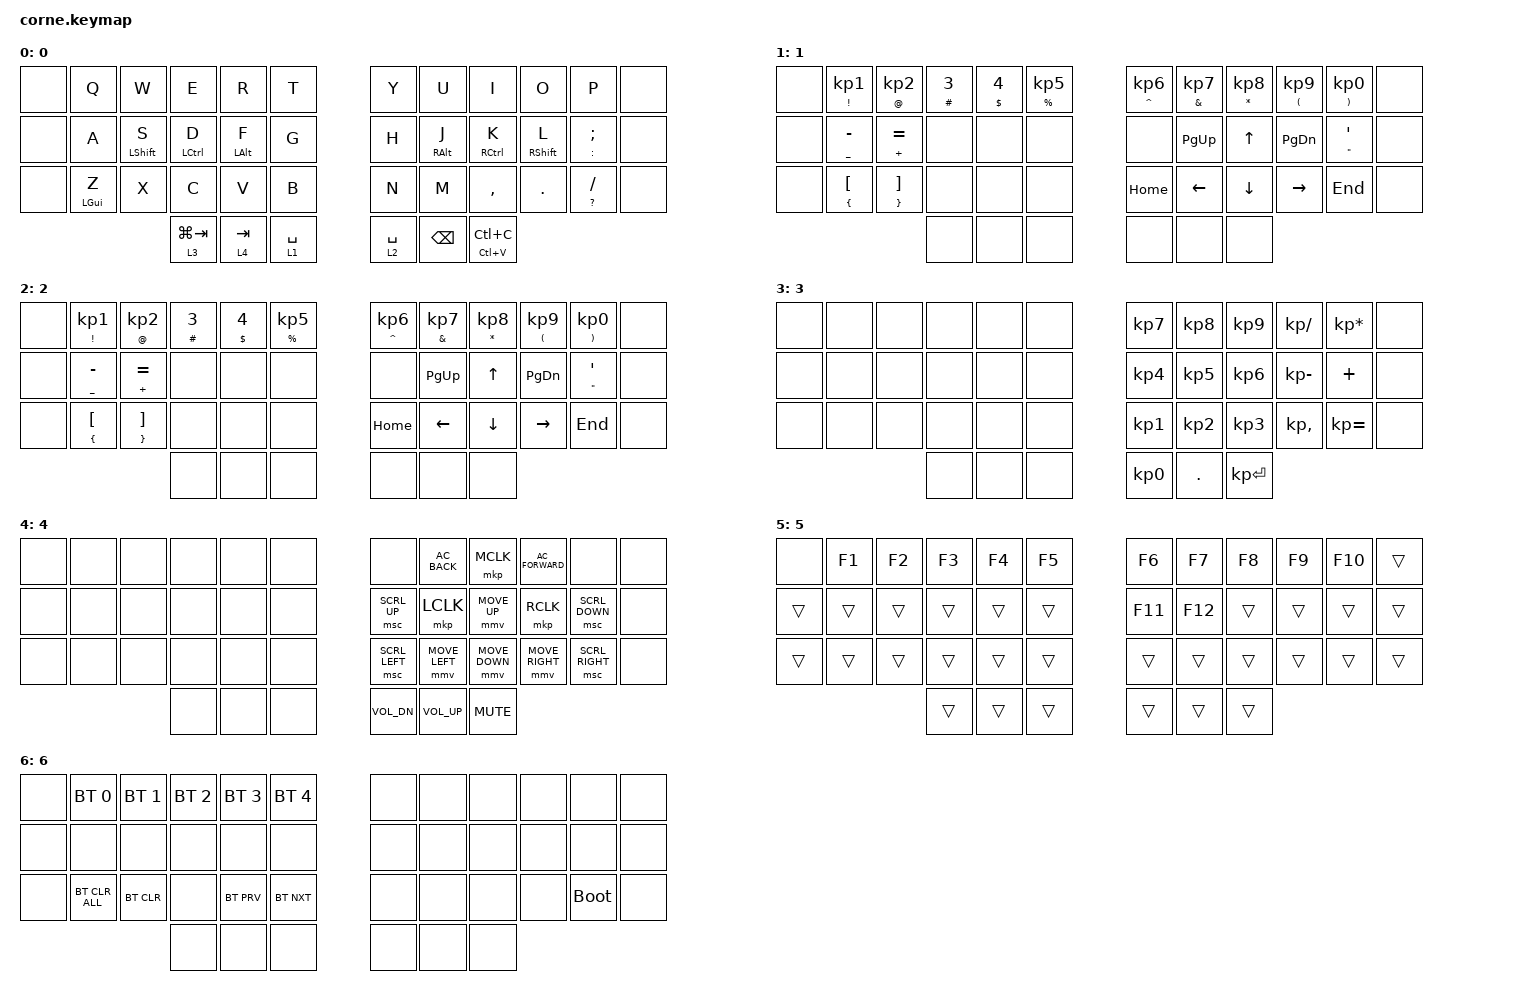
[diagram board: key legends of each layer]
/*
 * Copyright (c) 2020 The ZMK Contributors
 *
 * SPDX-License-Identifier: MIT
 */

#include <behaviors/mouse_keys.dtsi>
#include <behaviors.dtsi>
#include <dt-bindings/zmk/bt.h>
#include <dt-bindings/zmk/keys.h>
#include <dt-bindings/zmk/mouse.h>

#ifndef ZMK_MOUSE_DEFAULT_MOVE_VAL

#define ZMK_MOUSE_DEFAULT_MOVE_VAL 1600  // 600

#endif

#ifndef ZMK_MOUSE_DEFAULT_SCRL_VAL

#define ZMK_MOUSE_DEFAULT_SCRL_VAL 25    // 10

#endif

#define U_MS_U &mmv MOVE_UP
#define U_MS_D &mmv MOVE_DOWN
#define U_MS_L &mmv MOVE_LEFT
#define U_MS_R &mmv MOVE_RIGHT

&mt {
    tapping-term-ms = <350>;
    flavor = "balanced";
    hold-trigger-on-release;
};

/ {
    behaviors {
        // Left-hand home row mods

        hml: homerow_mod_left {
            compatible = "zmk,behavior-hold-tap";
            #binding-cells = <2>;
            flavor = "balanced";
            tapping-term-ms = <280>;
            quick-tap-ms = <175>;
            require-prior-idle-ms = <150>;
            bindings = <&kp>, <&kp>;

            hold-trigger-on-release;
            hold-trigger-key-positions = <14 15 13>;
        };

        // Right-hand home row mods

        hmr: homerow_mod_right {
            compatible = "zmk,behavior-hold-tap";
            #binding-cells = <2>;
            flavor = "balanced";
            tapping-term-ms = <280>;
            quick-tap-ms = <175>;
            require-prior-idle-ms = <150>;
            bindings = <&kp>, <&kp>;

            hold-trigger-on-release;
            hold-trigger-key-positions = <20 19 21>;
        };

        mmv {
            acceleration-exponent = <1>;      // 1
            time-to-max-speed-ms = <900>;    // 40
            delay-ms = <0>;                   // 0
        };

        msc {
            acceleration-exponent = <1>;      // 0
            time-to-max-speed-ms = <400>;      // 500
            delay-ms = <0>;                   //   10
        };
    };

    combos {
        compatible = "zmk,combos";

        a {
            bindings = <&mt GRAVE ESCAPE>;
            key-positions = <2 1>;
        };

        b {
            bindings = <&kp CLCK>;
            key-positions = <14 13 15>;
        };

        d {
            bindings = <&kp DEL>;
            key-positions = <10 9>;
        };

        e {
            bindings = <&kp ENTER>;
            key-positions = <21 20>;
        };

        h {
            bindings = <&sys_reset>;
            key-positions = <1 14 27>;
        };

        j {
            bindings = <&sys_reset>;
            key-positions = <10 21 32>;
        };

        Backslash_pipe {
            bindings = <&mt PIPE BACKSLASH>;
            key-positions = <34 33>;
        };

        print_screen {
            bindings = <&screenshot>;
            key-positions = <25 26 27>;
        };

        num_layer {
            bindings = <&tog 3>;
            key-positions = <6 7 8>;
        };

        bt_layer {
            bindings = <&tog 6>;
            key-positions = <5 4 3>;
        };

        default_layer {
            bindings = <&to 0>;
            key-positions = <18 19 20 21>;
        };

        f_layer {
            bindings = <&tog 5>;
            key-positions = <17 16 15 14>;
        };

        num_backspace {
            bindings = <&kp BACKSPACE>;
            key-positions = <8 9>;
        };
    };

    macros {
        screenshot: screenshot {
            compatible = "zmk,behavior-macro";
            #binding-cells = <0>;
            bindings =
                <&macro_press>,
                <&kp LS(LEFT_GUI)>,
                <&macro_tap>,
                <&kp S>,
                <&macro_release>,
                <&kp LS(LEFT_GUI)>;

            label = "SCREENSHOT";
        };
    };

    keymap {
        compatible = "zmk,keymap";

        default_layer {
            label = "0";
            bindings = <
&none  &kp Q            &kp W              &kp E          &kp R            &kp T          &kp Y        &kp U             &kp I            &kp O               &kp P                &none
&none  &kp A            &hml LEFT_SHIFT S  &hml LCTRL D   &hml LEFT_ALT F  &kp G          &kp H        &hmr RIGHT_ALT J  &hmr RCTRL K     &hmr RIGHT_SHIFT L  &mt COLON SEMICOLON  &none
&none  &hml LEFT_GUI Z  &kp X              &kp C          &kp V            &kp B          &kp N        &kp M             &kp COMMA        &kp DOT             &mt QUESTION SLASH   &none
                                           &lt 3 LG(TAB)  &lt 4 TAB        &lt 1 SPACE    &lt 2 SPACE  &kp BACKSPACE     &mt LC(V) LC(C)
            >;
        };

        arrow_numbers {
            label = "1";
            bindings = <
&none  &mt EXCLAMATION KP_NUMBER_1  &mt AT_SIGN KP_NUMBER_2        &mt HASH NUMBER_3  &mt DOLLAR NUMBER_4  &mt PERCENT KP_NUMBER_5    &mt CARET KP_NUMBER_6  &mt AMPERSAND KP_NUMBER_7  &mt ASTERISK KP_NUMBER_8  &mt LEFT_PARENTHESIS KP_NUMBER_9  &mt RIGHT_PARENTHESIS KP_NUMBER_0  &none
&none  &mt UNDERSCORE MINUS         &mt PLUS EQUAL                 &none              &none                &none                      &none                  &kp PAGE_UP                &kp UP_ARROW              &kp PAGE_DOWN                     &mt DOUBLE_QUOTES SQT             &none
&none  &mt LEFT_BRACE LEFT_BRACKET  &mt RIGHT_BRACE RIGHT_BRACKET  &none              &none                &none                      &kp HOME               &kp LEFT_ARROW             &kp DOWN                  &kp RIGHT_ARROW                   &kp END                           &none
                                                                   &none              &none                &none                      &none                  &none                      &none
            >;
        };

        arrow_numbers2 {
            label = "2";
            bindings = <
&none  &mt EXCLAMATION KP_NUMBER_1  &mt AT_SIGN KP_NUMBER_2        &mt HASH NUMBER_3  &mt DOLLAR NUMBER_4  &mt PERCENT KP_NUMBER_5    &mt CARET KP_NUMBER_6  &mt AMPERSAND KP_NUMBER_7  &mt ASTERISK KP_NUMBER_8  &mt LEFT_PARENTHESIS KP_NUMBER_9  &mt RIGHT_PARENTHESIS KP_NUMBER_0  &none
&none  &mt UNDERSCORE MINUS         &mt PLUS EQUAL                 &none              &none                &none                      &none                  &kp PAGE_UP                &kp UP_ARROW              &kp PAGE_DOWN                     &mt DOUBLE_QUOTES SQT             &none
&none  &mt LEFT_BRACE LEFT_BRACKET  &mt RIGHT_BRACE RIGHT_BRACKET  &none              &none                &none                      &kp HOME               &kp LEFT_ARROW             &kp DOWN                  &kp RIGHT_ARROW                   &kp END                           &none
                                                                   &none              &none                &none                      &none                  &none                      &none
            >;
        };

        number_layer {
            label = "3";
            bindings = <
&none  &none  &none  &none  &none  &none    &kp KP_NUMBER_7  &kp KP_NUMBER_8  &kp KP_NUMBER_9  &kp KP_DIVIDE    &kp KP_MULTIPLY  &none
&none  &none  &none  &none  &none  &none    &kp KP_NUMBER_4  &kp KP_NUMBER_5  &kp KP_NUMBER_6  &kp KP_SUBTRACT  &kp PLUS         &none
&none  &none  &none  &none  &none  &none    &kp KP_NUMBER_1  &kp KP_NUMBER_2  &kp KP_NUMBER_3  &kp KP_COMMA     &kp KP_EQUAL     &none
                     &none  &none  &none    &kp KP_NUMBER_0  &kp PERIOD       &kp KP_ENTER
            >;
        };

        mouse_layer {
            label = "4";
            bindings = <
&none  &none  &none  &none  &none  &none    &none           &kp C_AC_BACK   &mkp MCLK       &kp C_AC_FORWARD  &none            &none
&none  &none  &none  &none  &none  &none    &msc SCRL_UP    &mkp LCLK       &mmv MOVE_UP    &mkp RCLK         &msc SCRL_DOWN   &none
&none  &none  &none  &none  &none  &none    &msc SCRL_LEFT  &mmv MOVE_LEFT  &mmv MOVE_DOWN  &mmv MOVE_RIGHT   &msc SCRL_RIGHT  &none
                     &none  &none  &none    &kp C_VOL_DN    &kp C_VOL_UP    &kp K_MUTE
            >;
        };

        f_layer {
            label = "5";
            bindings = <
&none   &kp F1  &kp F2  &kp F3  &kp F4  &kp F5    &kp F6   &kp F7   &kp F8  &kp F9  &kp F10  &trans
&trans  &trans  &trans  &trans  &trans  &trans    &kp F11  &kp F12  &trans  &trans  &trans   &trans
&trans  &trans  &trans  &trans  &trans  &trans    &trans   &trans   &trans  &trans  &trans   &trans
                        &trans  &trans  &trans    &trans   &trans   &trans
            >;
        };

        bt_layer {
            label = "6";
            bindings = <
&none  &bt BT_SEL 0    &bt BT_SEL 1  &bt BT_SEL 2  &bt BT_SEL 3  &bt BT_SEL 4    &none  &none  &none  &none  &none        &none
&none  &none           &none         &none         &none         &none           &none  &none  &none  &none  &none        &none
&none  &bt BT_CLR_ALL  &bt BT_CLR    &none         &bt BT_PRV    &bt BT_NXT      &none  &none  &none  &none  &bootloader  &none
                                     &none         &none         &none           &none  &none  &none
            >;
        };
    };
};
